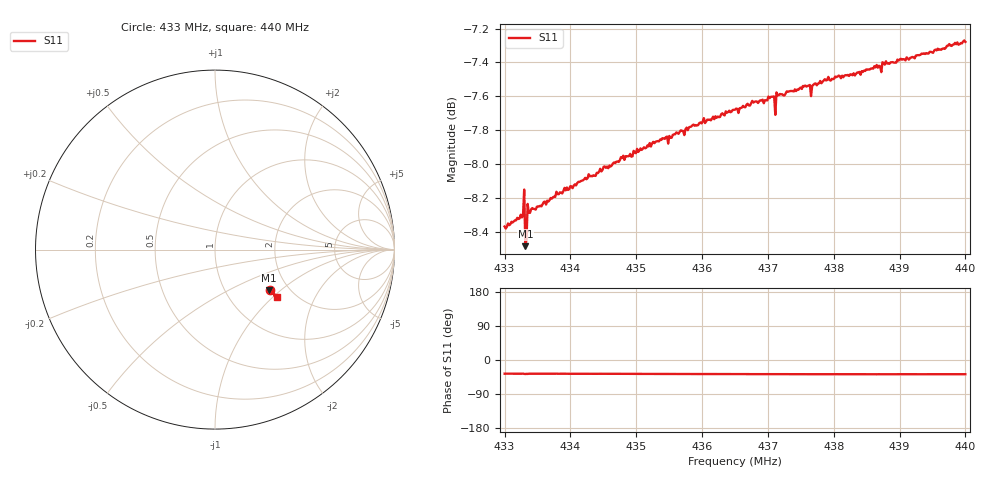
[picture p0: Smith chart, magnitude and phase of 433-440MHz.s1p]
! NanoVNA-App
! Date: 2023-06-06 09:32:39
! Start: 433MHz Stop: 440MHz Points: 401
! S-Parameter data: F S11
# Hz S RI R 50
!  Frequency  S11_Real  S11_Imag
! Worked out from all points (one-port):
!   401 points, 433 MHz to 440 MHz, reference 50 ohm
!   lowest |S11| = -8.5 dB at 433.31 MHz (marker M1), VSWR 2.21, Z = 79.5 - j41.9 ohm
!   |S11| at or under -10 dB: nowhere
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4.33e8  0.3082 -0.225
4.33245e8  0.3104 -0.2271
4.332625e8  0.3101 -0.2264
4.332975e8  0.314 -0.2335
4.33315e8  0.301 -0.2261
4.333325e8  0.3036 -0.2255
4.3335e8  0.3104 -0.2319
4.33385e8  0.3107 -0.2276
4.334025e8  0.3114 -0.2282
4.33875e8  0.3148 -0.2306
4.3475e8  0.3205 -0.2379
4.353275e8  0.3241 -0.2418
4.3552e8  0.3244 -0.243
4.35625e8  0.3256 -0.2436
4.365e8  0.329 -0.2498
4.370425e8  0.3313 -0.2528
4.370775e8  0.3315 -0.2527
4.371475e8  0.3315 -0.2532
4.37165e8  0.3315 -0.2534
4.37375e8  0.3325 -0.254
4.376025e8  0.3332 -0.2554
4.3769e8  0.3338 -0.2552
4.378825e8  0.3345 -0.2563
4.3825e8  0.3352 -0.2582
4.386875e8  0.3369 -0.2601
4.38775e8  0.3378 -0.2595
4.39125e8  0.3394 -0.2603
4.4e8  0.3429 -0.2637
